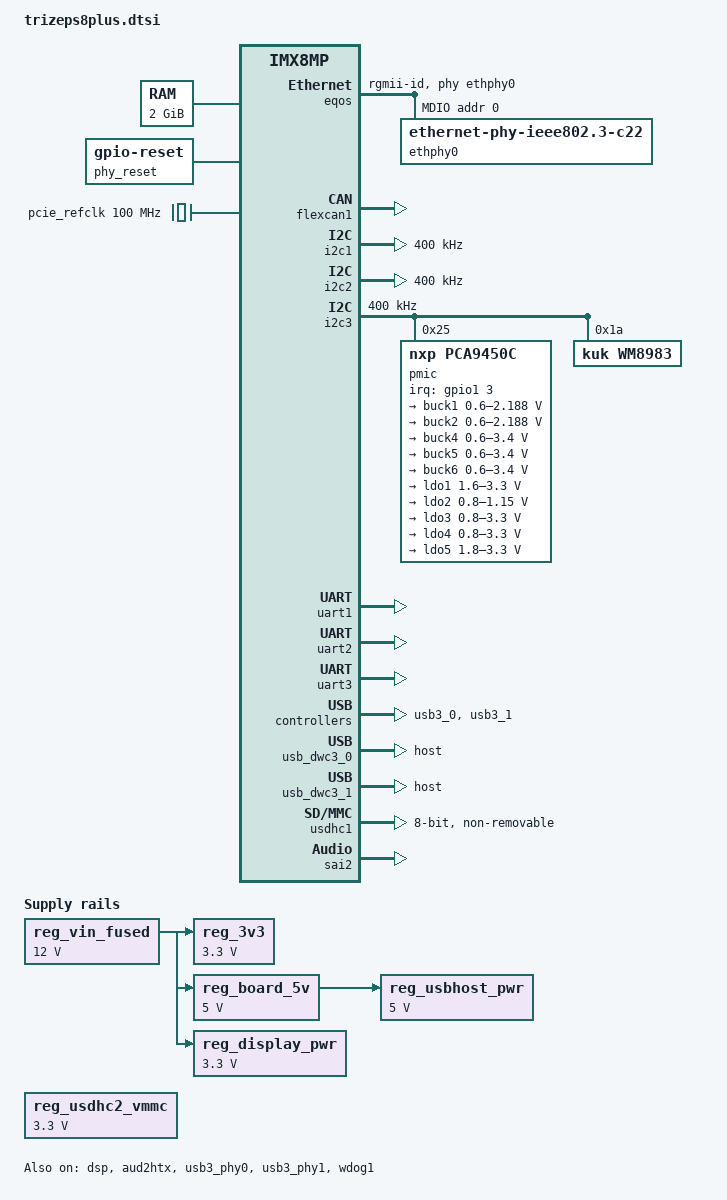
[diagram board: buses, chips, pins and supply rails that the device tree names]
/*
 * Copyright 2021 Keith & Koep GmbH
 */

/*
Switches:
    
    ETHERNET_ONLY_100MBIT		Reduce Ethernet to 100MBit in case extra lanes for 1GBit are not connected on the baseboard.

 
*/

#include "imx8mp.dtsi"
#include "trizeps8plus-pinfunc.h"

/ {
	firmware {
		android {
			compatible = "android,firmware";
			/* default emmc node used for GSI */
			boot_devices = "soc@0/30800000.bus/30b40000.mmc";
			/* sd card node which used if androidboot.boot_device_root=mmcblk1 */
			boot_devices_mmcblk1 = "soc@0/30800000.bus/30b50000.mmc";
			/* emmc node which used if androidboot.boot_device_root=mmcblk0 */
			boot_devices_mmcblk0 = "soc@0/30800000.bus/30b40000.mmc";
			fstab {
				compatible = "android,fstab";
				system {
					compatible = "android,system";
					dev = "system";
					type = "ext4";
					mnt_flags = "noatime,errors=panic,ro,barrier=1,inode_readahead_blks=8";
					fsmgr_flags = "wait,slotselect,avb,avb_keys=/avb,logical,first_stage_mount";
				};
				system_ext {
					compatible = "android,system_ext";
					dev = "system_ext";
					type = "ext4";
					mnt_flags = "noatime,ro,errors=panic";
					fsmgr_flags = "wait,slotselect,avb,logical,first_stage_mount";
				};
				vendor {
					compatible = "android,vendor";
					dev = "vendor";
					type = "ext4";
					mnt_flags = "noatime,errors=panic,ro,barrier=1,inode_readahead_blks=8";
					fsmgr_flags = "wait,slotselect,avb,logical,first_stage_mount";
				};
				product {
					compatible = "android,product";
					dev = "product";
					type = "ext4";
					mnt_flags = "noatime,errors=panic,ro,barrier=1,inode_readahead_blks=8";
					fsmgr_flags = "wait,slotselect,avb,logical,first_stage_mount";
				};
				metadata {
					compatible = "android,metadata";
					dev = "/dev/block/by-name/metadata";
					type = "ext4";
					mnt_flags = "noatime,nosuid,nodev,discard,sync";
					fsmgr_flags = "wait,formattable,first_stage_mount,check";
				};
			};
			vbmeta {
				/*we need use FirstStageMountVBootV2 if we enable avb*/
				compatible = "android,vbmeta";
				/*parts means the partition witch can be mount in first stage*/
				parts = "vbmeta,dtbo,boot,system,vendor,product";
			};
		};
	};
};

/ {
	trusty {
		compatible = "android,trusty-smc-v1";
		ranges;
		#address-cells = <2>;
		#size-cells = <2>;
		trusty-irq {
			compatible = "android,trusty-irq-v1";
			interrupt-ranges = < 0 15 0>;
			ipi-range = <8 15 8>;
		};
		trusty-virtio {
			compatible = "android,trusty-virtio-v1";
		};
		trusty-log {
			compatible = "android,trusty-log-v1";
		};
	};
};


/ {
	memory@40000000 {
		device_type = "memory";
		reg = <0x0 0x40000000 0 0x80000000>;
	};

	phy_reset: phy-reset {
		compatible = "gpio-reset";
		reset-gpios = <enet_reset_gpio GPIO_ACTIVE_LOW>;
		reset-delay-us = <2000>;
		reset-post-delay-ms = <40>;
		#reset-cells = <0>;
	};

	pcie_refclk: pcie-refclk {
		compatible = "fixed-clock";
		#clock-cells = <0>;
		clock-frequency = <100000000>;
	};

	reg_vin_fused: vin_fused {
		compatible = "regulator-fixed";
		regulator-name = "VIN_FUSED";
		regulator-min-microvolt = <12000000>;
		/* max	should be 24V but the fixed regulator driver does
		not allow a range here */
		regulator-max-microvolt = <12000000>;
		regulator-always-on;
	};

	reg_3v3: 3v3 {
		compatible = "regulator-fixed";
		regulator-name = "+3V3";
		regulator-min-microvolt = <3300000>;
		regulator-max-microvolt = <3300000>;
		regulator-always-on;
		vin-supply = <&reg_vin_fused>;
	};

	reg_board_5v: 5v {
		compatible = "regulator-fixed";
		regulator-name = "+5V";
		regulator-min-microvolt = <5000000>;
		regulator-max-microvolt = <5000000>;
		regulator-always-on;
		vin-supply = <&reg_vin_fused>;
	};

	reg_usbhost_pwr: usbhost-pwr {
		compatible = "regulator-fixed";
		regulator-name = "USBHOST PWR";
		regulator-min-microvolt = <5000000>;
		regulator-max-microvolt = <5000000>;
		pinctrl-names = "default";
		pinctrl-0 = <&pinctrl_usbhost_enable>;
		gpio = <spin129_gpio 0>;
		enable-active-low;
		regulator-always-on;
		vin-supply = <&reg_board_5v>;
	};
	reg_usdhc2_vmmc: regulator-usdhc2 {
		compatible = "regulator-fixed";
		//pinctrl-names = "default";
		//pinctrl-0 = <&pinctrl_reg_usdhc2_vmmc>;
		regulator-name = "VSD_3V3";
		regulator-min-microvolt = <3300000>;
		regulator-max-microvolt = <3300000>;
		//gpio = <&gpio2 19 GPIO_ACTIVE_HIGH>;
		enable-active-high;
	};
/*
	reg_can1_stby: regulator-can1-stby {
		compatible = "regulator-fixed";
		regulator-name = "can1-stby";
		pinctrl-names = "default";
		pinctrl-0 = <&pinctrl_flexcan1_reg>;
		regulator-min-microvolt = <3300000>;
		regulator-max-microvolt = <3300000>;
		gpio = <&gpio5 5 GPIO_ACTIVE_HIGH>;
		enable-active-high;
	};
*/

	reg_display_pwr: display-pwr {
		compatible = "regulator-fixed";
		regulator-name = "DISPLAY PWCTRL";
		regulator-min-microvolt = <3300000>;
		regulator-max-microvolt = <3300000>;
		regulator-always-on;
		vin-supply = <&reg_vin_fused>;
	};

/*
	sound-hdmi {
		compatible = "fsl,imx-audio-cdnhdmi";
		model = "audio-hdmi";
		audio-cpu = <&aud2htx>;
		hdmi-out;
		constraint-rate = <44100>,
				<88200>,
				<176400>,
				<32000>,
				<48000>,
				<96000>,
				<192000>;
		status = "okay";
	};
*/

	sound-wm8983 {
		compatible = "simple-audio-card";
		simple-audio-card,name = "wm8983-audio";
		simple-audio-card,format = "i2s";
		simple-audio-card,frame-master = <&cpudai>;
		simple-audio-card,bitclock-master = <&cpudai>;
		simple-audio-card,widgets =
			"Headphone", "Headphone Jack",
			"Speaker", "Speaker", 
			"Line","LineIn Jack",
			"Microphone", "Microphone";
		simple-audio-card,routing =
			"Headphone Jack", "HPL",
			"Headphone Jack", "HPR",
			"Headphone Jack", "OUT4",
			"Speaker", "SPKL",
			"Speaker", "SPKR",
			"LineIn Jack", "L2",
			"LineIn Jack", "R2",
			"Microphone", "LIP",
			"Microphone", "LIN",
			"Microphone", "MICBIAS";

		cpudai: simple-audio-card,cpu {
			sound-dai = <&sai2>;
			dai-tdm-slot-num = <2>;
			dai-tdm-slot-width = <32>;
		};

		simple-audio-card,codec {
			sound-dai = <&wm8983>;
			clocks = <&clk IMX8MP_CLK_SAI2_ROOT>;
		};

	};

/*
	sound-micfil {
		compatible = "fsl,imx-audio-micfil";
		model = "imx-audio-micfil";
		cpu-dai = <&micfil>;
	};

	sound-xcvr {
		compatible = "fsl,imx-audio-xcvr";
		model = "imx-audio-xcvr";
		cpu-dai = <&xcvr>;
	};
*/
	backlight: backlight {
		compatible = "pwm-legacy-backlight";
		pwms = <&pwm1 0 100000 0>;
		pinctrl-0 = <&pinctrl_backlight_enable>;
		enable-gpios = <spin73_gpio GPIO_ACTIVE_HIGH>;
		brightness-levels = < 0  1  2  3  4  5  6  7  8  9
				     10 11 12 13 14 15 16 17 18 19
				     20 21 22 23 24 25 26 27 28 29
				     30 31 32 33 34 35 36 37 38 39
				     40 41 42 43 44 45 46 47 48 49
				     50 51 52 53 54 55 56 57 58 59
				     60 61 62 63 64 65 66 67 68 69
				     70 71 72 73 74 75 76 77 78 79
				     80 81 82 83 84 85 86 87 88 89
				     90 91 92 93 94 95 96 97 98 99
				    100>;
		default-brightness-level = <80>;
		status = "disabled";
 	};
};

&A53_0 {
	cpu-supply = <&buck2>;
};

&A53_1 {
	cpu-supply = <&buck2>;
};

&A53_2 {
	cpu-supply = <&buck2>;
};

&A53_3 {
	cpu-supply = <&buck2>;
};

&dsp {
	status = "okay";
};

&aud2htx {
	status = "okay";
};

&eqos {
	pinctrl-names = "default";
	pinctrl-0 = <&pinctrl_eqos>;
	phy-mode = "rgmii-id";
	phy-handle = <&ethphy0>;
	resets = <&phy_reset>;
	reset-names = "stmmaceth";
	status = "okay";

	mdio {
		compatible = "snps,dwmac-mdio";
		#address-cells = <1>;
		#size-cells = <0>;

		ethphy0: ethernet-phy@0 {
			compatible = "ethernet-phy-ieee802.3-c22";
			reg = <0>;
			//at803x,eee-disabled;
			//at803x,vddio-1p8v;
#if defined(ETHERNET_ONLY_100MBIT) && (ETHERNET_ONLY_100MBIT==1)
			//at803x,100MBit;
#endif
		};
	};
};


&flexcan1 {
	pinctrl-names = "default";
	pinctrl-0 = <&pinctrl_flexcan1>;
	//xceiver-supply = <&reg_can1_stby>;
	status = "okay";
};

&flexcan2 {
	pinctrl-names = "default";
	//pinctrl-0 = <&pinctrl_flexcan2>;
	//xceiver-supply = <&reg_can2_stby>;
	//pinctrl-assert-gpios = <&pca6416 3 GPIO_ACTIVE_HIGH>;
	status = "disabled";/* can2 pin conflict with pdm: gpio low select pdm, gpio high select can2 */
};


&i2c1 {
	clock-frequency = <400000>;
	pinctrl-names = "default";
	pinctrl-0 = <&pinctrl_i2c1>;
	status = "okay";
};

&i2c2 {
	clock-frequency = <400000>;
	pinctrl-names = "default";
	pinctrl-0 = <&pinctrl_i2c2>;
	status = "okay";
};

&i2c3 {
	clock-frequency = <400000>;
	pinctrl-names = "default";
	pinctrl-0 = <&pinctrl_i2c3>;
	status = "okay";

	pmic: pca9450@25 {
		reg = <0x25>;
		compatible = "nxp,pca9450c";

		/* PMIC PCA9450 PMIC_nINT GPIO1_IO3 */
		pinctrl-0 = <&pinctrl_pmic>;
		interrupt-parent = <&gpio1>;
		interrupts = <3 GPIO_ACTIVE_LOW>;


		regulators {
			buck1: BUCK1 {
				regulator-name = "BUCK1";
				regulator-min-microvolt = <600000>;
				regulator-max-microvolt = <2187500>;
				regulator-boot-on;
				regulator-always-on;
				regulator-ramp-delay = <3125>;
			};

			buck2: BUCK2 {
				regulator-name = "BUCK2";
				regulator-min-microvolt = <600000>;
				regulator-max-microvolt = <2187500>;
				regulator-boot-on;
				regulator-always-on;
				regulator-ramp-delay = <3125>;
				nxp,dvs-run-voltage = <950000>;
				nxp,dvs-standby-voltage = <850000>;
			};

			buck4: BUCK4{
				regulator-name = "BUCK4";
				regulator-min-microvolt = <600000>;
				regulator-max-microvolt = <3400000>;
				regulator-boot-on;
				regulator-always-on;
			};

			buck5: BUCK5{
				regulator-name = "BUCK5";
				regulator-min-microvolt = <600000>;
				regulator-max-microvolt = <3400000>;
				regulator-boot-on;
				regulator-always-on;
			};

			buck6: BUCK6 {
				regulator-name = "BUCK6";
				regulator-min-microvolt = <600000>;
				regulator-max-microvolt = <3400000>;
				regulator-boot-on;
				regulator-always-on;
			};

			ldo1: LDO1 {
				regulator-name = "LDO1";
				regulator-min-microvolt = <1600000>;
				regulator-max-microvolt = <3300000>;
				regulator-boot-on;
				regulator-always-on;
			};

			ldo2: LDO2 {
				regulator-name = "LDO2";
				regulator-min-microvolt = <800000>;
				regulator-max-microvolt = <1150000>;
				regulator-boot-on;
				regulator-always-on;
			};

			ldo3: LDO3 {
				regulator-name = "LDO3";
				regulator-min-microvolt = <800000>;
				regulator-max-microvolt = <3300000>;
				regulator-boot-on;
				regulator-always-on;
			};

			ldo4: LDO4 {
				regulator-name = "LDO4";
				regulator-min-microvolt = <800000>;
				regulator-max-microvolt = <3300000>;
				regulator-boot-on;
				regulator-always-on;
			};

			ldo5: LDO5 {
				regulator-name = "LDO5";
				regulator-min-microvolt = <1800000>;
				regulator-max-microvolt = <3300000>;
				regulator-boot-on;
				regulator-always-on;
			};
		};
	};

	wm8983: wm8983@1a {	/* Audio-Codec */
        #sound-dai-cells = <0>;
		compatible = "kuk,wm8983";
		reg = <0x1a>;
		clocks = <&clk IMX8MP_CLK_SAI2_ROOT>;
		clock-names = "mclk";
	};

};



&snvs_pwrkey {
	status = "disabled";
};


&uart1 {
	pinctrl-names = "default";
	pinctrl-0 = <&pinctrl_uart1>;
	assigned-clocks = <&clk IMX8MP_CLK_UART1>;
	assigned-clock-parents = <&clk IMX8MP_SYS_PLL1_80M>;
	status = "okay";
};

&uart2 {
	pinctrl-names = "default";
	pinctrl-0 = <&pinctrl_uart2>;
	assigned-clocks = <&clk IMX8MP_CLK_UART2>;
	assigned-clock-parents = <&clk IMX8MP_SYS_PLL1_80M>;
	status = "okay";
};

&uart3 {
	pinctrl-names = "default";
	pinctrl-0 = <&pinctrl_uart3>;
	assigned-clocks = <&clk IMX8MP_CLK_UART3>;
	assigned-clock-parents = <&clk IMX8MP_SYS_PLL1_80M>;
	status = "okay";
};


&usb3_0 {
	status = "okay";
};

&usb_dwc3_0 {
	dr_mode = "host";
	status = "okay";
};

&usb3_phy0 {
	disable-over-current;
	status = "okay";
};


&usb3_1 {
	status = "okay";
};

&usb_dwc3_1 {
	dr_mode = "host";
	status = "okay";
	pinctrl-names = "default";
	pinctrl-0 = <&pinctrl_usb1_vbus>;

	pinctrl_usb1_vbus: usb1grp {
		fsl,pins = <
			MX8MP_IOMUXC_GPIO1_IO14__USB2_PWR		0x19
		>;
	};
};

&usb3_phy1 {
	vbus-supply = <&reg_usbhost_pwr>;
	disable-over-current;
	status = "okay";
};



&usdhc1 {
	assigned-clocks = <&clk IMX8MP_CLK_USDHC1>;
	assigned-clock-rates = <400000000>;
	pinctrl-names = "default", "state_100mhz", "state_200mhz";
	pinctrl-0 = <&pinctrl_usdhc1>;
	pinctrl-1 = <&pinctrl_usdhc1_100mhz>;
	pinctrl-2 = <&pinctrl_usdhc1_200mhz>;
	bus-width = <8>;
	non-removable;
	status = "okay";
};


&wdog1 {
	pinctrl-names = "default";
	pinctrl-0 = <&pinctrl_wdog>;
	fsl,ext-reset-output;
	status = "okay";
};

&sai2 {
	#sound-dai-cells = <0>;
	/**/
	//compatible = "fsl,imx8mm-sai-kuk";
	fsl,dataline = <0 0x1 0x1>;
	pinctrl-names = "default";
	pinctrl-0 = <&pinctrl_sai2>;
	assigned-clocks = <&clk IMX8MP_CLK_SAI2>;
	assigned-clock-parents = <&clk IMX8MP_AUDIO_PLL1_OUT>;
	assigned-clock-rates = <24576000>; // from trizeps8mini
	//assigned-clock-rates = <12288000>;   // from evk
	/**/
	clocks = <&audio_blk_ctrl IMX8MP_CLK_AUDIO_BLK_CTRL_SAI3_IPG>, <&clk IMX8MP_CLK_DUMMY>,
		 <&audio_blk_ctrl IMX8MP_CLK_AUDIO_BLK_CTRL_SAI3_MCLK1>, <&clk IMX8MP_CLK_DUMMY>,
		 <&clk IMX8MP_CLK_DUMMY>;
	clock-names = "bus", "mclk0", "mclk1", "mclk2", "mclk3";
	fsl,sai-mclk-direction-output;
	status = "okay";
};


/*
&pcie_phy{
	//ext_osc = <1>;
	ext_osc = <0>;
	status = "okay";
};


&pcie{
	pinctrl-names = "default";
	pinctrl-0 = <&pinctrl_pcie>;
	//disable-gpio = <&gpio2 6 GPIO_ACTIVE_LOW>;
	//reset-gpio = <&gpio2 7 GPIO_ACTIVE_LOW>;
	//ext_osc = <1>;
	disable-gpio    = <&gpio3 17 GPIO_ACTIVE_LOW>;
	reset-gpio      = <&gpio2 19 GPIO_ACTIVE_LOW>;
	ext_osc = <0>;
	bus-range = <0x00 0xff>;
	clocks = <&clk IMX8MP_CLK_HSIO_ROOT>,
		 <&clk IMX8MP_CLK_PCIE_AUX>,
		 <&clk IMX8MP_CLK_HSIO_AXI>,
		//<&clk IMX8MP_CLK_PCIE_ROOT>;
		<&pcie_refclk>;
	clock-names = "pcie", "pcie_aux", "pcie_phy", "pcie_bus";

	assigned-clocks = <&clk IMX8MP_CLK_HSIO_AXI>,
			  <&clk IMX8MP_CLK_PCIE_AUX>;
	assigned-clock-rates = <500000000>, <10000000>;
	assigned-clock-parents = <&clk IMX8MP_SYS_PLL2_500M>,
				 <&clk IMX8MP_SYS_PLL2_50M>;

	status = "okay";
};
*/


&pwm1 {
	pinctrl-names = "default";
	pinctrl-0 = <&pinctrl_backlight_pwm1>;
	status = "disabled";
};


// HDMI
/*
&irqsteer_hdmi {
	status = "okay";
};

&hdmi_blk_ctrl {
	status = "okay";
};

&hdmi_pavi {
	status = "okay";
};

&hdmi {
	status = "okay";
};

&hdmiphy {
	status = "okay";
};
*/
#if 0
&lcdif3 {
	status = "okay";
	// whatever this meens
	thres-low  = <1 2>;             /* (FIFO * 1 / 2) */
	thres-high = <3 4>;             /* (FIFO * 3 / 4) */
};
#endif


&iomuxc {
	pinctrl-names = "default";
	pinctrl-0 = <&pinctrl_hog>;

	pinctrl_eqos: eqosgrp {
		fsl,pins = <
			MX8MP_IOMUXC_ENET_MDC__ENET_QOS_MDC		0x3
			MX8MP_IOMUXC_ENET_MDIO__ENET_QOS_MDIO		0x3
			MX8MP_IOMUXC_ENET_RD0__ENET_QOS_RGMII_RD0	0x91
			MX8MP_IOMUXC_ENET_RD1__ENET_QOS_RGMII_RD1	0x91
			MX8MP_IOMUXC_ENET_RD2__ENET_QOS_RGMII_RD2	0x91
			MX8MP_IOMUXC_ENET_RD3__ENET_QOS_RGMII_RD3	0x91
			MX8MP_IOMUXC_ENET_RXC__CCM_ENET_QOS_CLOCK_GENERATE_RX_CLK	0x91
			MX8MP_IOMUXC_ENET_RX_CTL__ENET_QOS_RGMII_RX_CTL	0x91
			MX8MP_IOMUXC_ENET_TD0__ENET_QOS_RGMII_TD0	0x1f
			MX8MP_IOMUXC_ENET_TD1__ENET_QOS_RGMII_TD1	0x1f
			MX8MP_IOMUXC_ENET_TD2__ENET_QOS_RGMII_TD2	0x1f
			MX8MP_IOMUXC_ENET_TD3__ENET_QOS_RGMII_TD3	0x1f
			MX8MP_IOMUXC_ENET_TX_CTL__ENET_QOS_RGMII_TX_CTL	0x1f
			MX8MP_IOMUXC_ENET_TXC__CCM_ENET_QOS_CLOCK_GENERATE_TX_CLK	0x1f
			MX8MP_IOMUXC_GPIO1_IO09__GPIO1_IO09		0x19
		>;
	};

	pinctrl_pmic: pmicirq {
		fsl,pins = <
			MX8MP_IOMUXC_GPIO1_IO03__GPIO1_IO03	0x41
		>;
	};

	pinctrl_reg_usdhc2_vmmc: regusdhc2vmmcgrp {
		fsl,pins = <
			MX8MP_IOMUXC_SD2_RESET_B__GPIO2_IO19	0x41
		>;
	};

	pinctrl_i2c1: i2c1grp {
		fsl,pins = <
			MX8MP_IOMUXC_I2C1_SCL__I2C1_SCL			0x400001c3
			MX8MP_IOMUXC_I2C1_SDA__I2C1_SDA			0x400001c3
		>;
	};

	pinctrl_i2c2: i2c2grp {
		fsl,pins = <
			MX8MP_IOMUXC_I2C2_SCL__I2C2_SCL			0x400001c3
			MX8MP_IOMUXC_I2C2_SDA__I2C2_SDA			0x400001c3
		>;
	};

	pinctrl_i2c3: i2c3grp {
		fsl,pins = <
			MX8MP_IOMUXC_I2C3_SCL__I2C3_SCL		0x400001c3
			MX8MP_IOMUXC_I2C3_SDA__I2C3_SDA		0x400001c3
		>;
	};

	pinctrl_uart1: uart1grp {
		fsl,pins = <
			MX8MP_IOMUXC_UART1_RXD__UART1_DCE_RX	0x140
			MX8MP_IOMUXC_UART1_TXD__UART1_DCE_TX	0x140
			MX8MP_IOMUXC_UART3_RXD__UART1_DCE_CTS	0x140
			MX8MP_IOMUXC_UART3_TXD__UART1_DCE_RTS	0x140
		>;
	};

	pinctrl_uart2: uart2grp {
		fsl,pins = <
			MX8MP_IOMUXC_UART2_RXD__UART2_DCE_RX	0x140
			MX8MP_IOMUXC_UART2_TXD__UART2_DCE_TX	0x140
			MX8MP_IOMUXC_UART4_RXD__UART2_DCE_CTS	0x140
			MX8MP_IOMUXC_UART4_TXD__UART2_DCE_RTS	0x140
		>;
	};

	pinctrl_uart3: uart3grp {
		fsl,pins = <
			MX8MP_IOMUXC_ECSPI1_SCLK__UART3_DCE_RX	0x140
			MX8MP_IOMUXC_ECSPI1_MOSI__UART3_DCE_TX	0x140
		>;
	};

	pinctrl_usdhc1: usdhc1grp {
		fsl,pins = <
			MX8MP_IOMUXC_SD1_CLK__USDHC1_CLK			0x40000190
			MX8MP_IOMUXC_SD1_CMD__USDHC1_CMD			0x1d0
			MX8MP_IOMUXC_SD1_DATA0__USDHC1_DATA0		0x1d0
			MX8MP_IOMUXC_SD1_DATA1__USDHC1_DATA1		0x1d0
			MX8MP_IOMUXC_SD1_DATA2__USDHC1_DATA2		0x1d0
			MX8MP_IOMUXC_SD1_DATA3__USDHC1_DATA3		0x1d0
			MX8MP_IOMUXC_SD1_DATA4__USDHC1_DATA4		0x1d0
			MX8MP_IOMUXC_SD1_DATA5__USDHC1_DATA5		0x1d0
			MX8MP_IOMUXC_SD1_DATA6__USDHC1_DATA6		0x1d0
			MX8MP_IOMUXC_SD1_DATA7__USDHC1_DATA7		0x1d0
			MX8MP_IOMUXC_SD1_STROBE__USDHC1_STROBE 		0x190
			MX8MP_IOMUXC_SD1_RESET_B__USDHC1_RESET_B		0xc1
		>;
	};

	pinctrl_usdhc1_100mhz: usdhc1grp100mhz {
		fsl,pins = <
			MX8MP_IOMUXC_SD1_CLK__USDHC1_CLK			0x40000194
			MX8MP_IOMUXC_SD1_CMD__USDHC1_CMD			0x1d4
			MX8MP_IOMUXC_SD1_DATA0__USDHC1_DATA0		0x1d4
			MX8MP_IOMUXC_SD1_DATA1__USDHC1_DATA1		0x1d4
			MX8MP_IOMUXC_SD1_DATA2__USDHC1_DATA2		0x1d4
			MX8MP_IOMUXC_SD1_DATA3__USDHC1_DATA3		0x1d4
			MX8MP_IOMUXC_SD1_DATA4__USDHC1_DATA4		0x1d4
			MX8MP_IOMUXC_SD1_DATA5__USDHC1_DATA5		0x1d4
			MX8MP_IOMUXC_SD1_DATA6__USDHC1_DATA6		0x1d4
			MX8MP_IOMUXC_SD1_DATA7__USDHC1_DATA7		0x1d4
			MX8MP_IOMUXC_SD1_STROBE__USDHC1_STROBE 		0x194
			MX8MP_IOMUXC_SD1_RESET_B__USDHC1_RESET_B		0xc1
		>;
	};

	pinctrl_usdhc1_200mhz: usdhc1grp200mhz {
		fsl,pins = <
			MX8MP_IOMUXC_SD1_CLK__USDHC1_CLK			0x40000196
			MX8MP_IOMUXC_SD1_CMD__USDHC1_CMD			0x1d6
			MX8MP_IOMUXC_SD1_DATA0__USDHC1_DATA0		0x1d6
			MX8MP_IOMUXC_SD1_DATA1__USDHC1_DATA1		0x1d6
			MX8MP_IOMUXC_SD1_DATA2__USDHC1_DATA2		0x1d6
			MX8MP_IOMUXC_SD1_DATA3__USDHC1_DATA3		0x1d6
			MX8MP_IOMUXC_SD1_DATA4__USDHC1_DATA4		0x1d6
			MX8MP_IOMUXC_SD1_DATA5__USDHC1_DATA5		0x1d6
			MX8MP_IOMUXC_SD1_DATA6__USDHC1_DATA6		0x1d6
			MX8MP_IOMUXC_SD1_DATA7__USDHC1_DATA7		0x1d6
			MX8MP_IOMUXC_SD1_STROBE__USDHC1_STROBE 		0x196
			MX8MP_IOMUXC_SD1_RESET_B__USDHC1_RESET_B		0xc1
		>;
	};

	pinctrl_wdog: wdoggrp {
		fsl,pins = <
			MX8MP_IOMUXC_GPIO1_IO02__WDOG1_WDOG_B	0xc6
		>;
	};

	pinctrl_usbhost_enable: usbhost-enable 	{
		fsl,pins = < SPIN129_GPIO		PAD_GPIO >; /* USBH_PWR */
	};

	pinctrl_sai2: sai2grp {
		fsl,pins = <
			/*
			MX8MM_IOMUXC_SAI2_TXFS_SAI2_TX_SYNC	0xd6
			MX8MM_IOMUXC_SAI2_TXC_SAI2_TX_BCLK	0xd6
			MX8MM_IOMUXC_SAI2_MCLK_SAI2_MCLK	0xd6
			MX8MM_IOMUXC_SAI2_TXD0_SAI2_TX_DATA0	0xd6
			MX8MM_IOMUXC_SAI2_RXD0_SAI2_RX_DATA0	0xd6
			*/
			MX8MP_IOMUXC_SAI2_TXC__AUDIOMIX_SAI2_TX_BCLK	0xd6
			MX8MP_IOMUXC_SAI2_TXFS__AUDIOMIX_SAI2_TX_SYNC	0xd6
			//MX8MP_IOMUXC_SAI2_MCLK__AUDIOMIX_SAI2_MCLK	0xd6
			MX8MP_IOMUXC_SAI2_TXD0__AUDIOMIX_SAI2_TX_DATA00	0xd6
			MX8MP_IOMUXC_SAI2_RXD0__AUDIOMIX_SAI2_RX_DATA00	0xd6
		>;
    };

	pinctrl_flexcan1: flexcan1grp {
		fsl,pins = <
			MX8MP_IOMUXC_SAI5_RXD1__CAN1_TX		0x154
			MX8MP_IOMUXC_SAI5_RXD2__CAN1_RX		0x154
		>;
	};

	pinctrl_flexcan1_reg: flexcan1reggrp {
		fsl,pins = <
			MX8MP_IOMUXC_SPDIF_EXT_CLK__GPIO5_IO05	0x154	/* CAN1_STBY */
		>;
	};

	pinctrl_pcie: pciegrp {
		fsl,pins = <
			MX8MP_IOMUXC_I2C4_SCL__PCIE_CLKREQ_B		0x61 /* open drain, pull up */
			//MX8MP_IOMUXC_SD1_DATA4__GPIO2_IO06		0x41
			//MX8MP_IOMUXC_SD1_DATA5__GPIO2_IO07		0x41
			//MX8MP_IOMUXC_NAND_WE_B__GPIO3_IO17			0x41
			//MX8MP_IOMUXC_SD2_RESET_B__GPIO2_IO19		0x41
			MX8MP_IOMUXC_NAND_CE1_B__GPIO3_IO02			0x41 // PCIE_WAKE
			MX8MP_IOMUXC_NAND_DQS__GPIO3_IO14			0x41 //
		>;
	};

	pinctrl_backlight_enable: backlight-enable {
		fsl,pins = < SPIN73_GPIO		PAD_GPIO >;	/* BACKLIGHT_ENABLE SODIMM Pin 73 */
	};

	pinctrl_backlight_pwm1: pwm-backlight {
		fsl,pins = < SPIN77_PWM1_OUT		PAD_GPIO >;	/* BACKLIGHT_PWM */
	};



};

/*
&vpu_g1 {
	status = "okay";
};

&vpu_g2 {
	status = "okay";
};

&vpu_vc8000e {
	status = "okay";
};

&vpu_v4l2 {
	status = "okay";
};

&gpu_3d {
	status = "okay";
};

&gpu_2d {
	status = "okay";
};

&ml_vipsi {
	status = "okay";
};

&mix_gpu_ml {
	status = "okay";
};
*/
